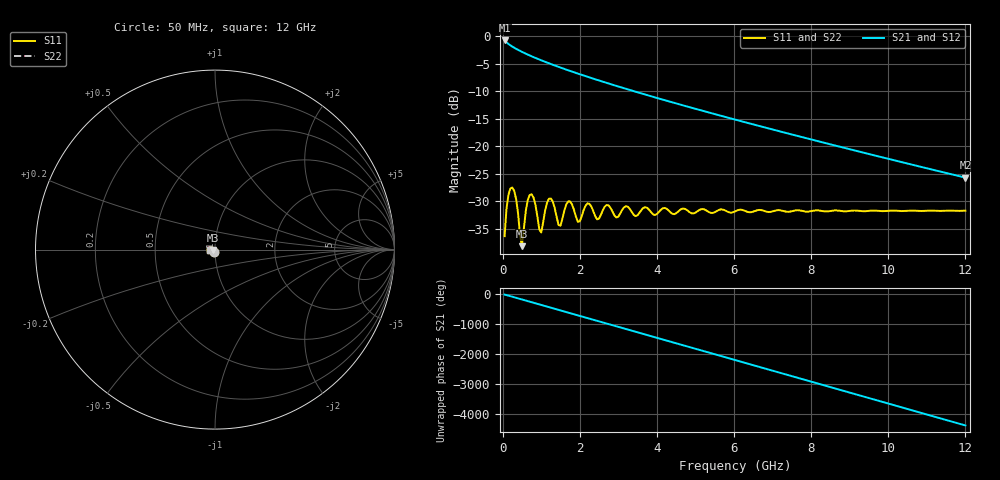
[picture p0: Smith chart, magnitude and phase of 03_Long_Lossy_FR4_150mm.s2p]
! Touchstone 1.1 File - Long 150mm Lossy FR4 Channel (High Attenuation)
! Ports: 2 | Reference Impedance: 50 Ohms
# GHz S RI R 50
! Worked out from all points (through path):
!   240 points, 50 MHz to 12 GHz, reference 50 ohm
!   highest |S21| = -0.76 dB at 50 MHz (marker M1); lowest = -25.7 dB at 12 GHz (marker M2)
!   group delay of S21, straight-line fit = 1.01 ns
!   lowest |S11| = -38.1 dB at 500 MHz (marker M3), VSWR 1.03, Z = 48.8 - j0.149 ohm
!   |S11| at or under -10 dB: start of sweep to end of sweep
!   |S22| runs from -38.1 to -27.5 dB; largest |S21 - S12| = 0
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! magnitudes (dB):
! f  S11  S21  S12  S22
! 50 MHz  -36.3  -0.8  -0.8  -36.3
! 150 MHz  -28.8  -1.4  -1.4  -28.8
! 250 MHz  -27.5  -1.9  -1.9  -27.5
! 350 MHz  -29.6  -2.3  -2.3  -29.6
! 500 MHz  -38.1  -2.8  -2.8  -38.1
! 700 MHz  -28.8  -3.5  -3.5  -28.8
! 800 MHz  -29.3  -3.8  -3.8  -29.3
! 1 GHz  -35.7  -4.4  -4.4  -35.7
! 1.2 GHz  -29.5  -4.9  -4.9  -29.5
! 1.45 GHz  -34.3  -5.6  -5.6  -34.3
! 1.7 GHz  -30.0  -6.2  -6.2  -30.0
! 2.05 GHz  -32.7  -7.0  -7.0  -32.7
! 2.2 GHz  -30.4  -7.4  -7.4  -30.4
! 2.45 GHz  -33.3  -7.9  -7.9  -33.3
! 2.7 GHz  -30.7  -8.5  -8.5  -30.7
! 2.95 GHz  -32.9  -9.0  -9.0  -32.9
! 3.2 GHz  -30.9  -9.6  -9.6  -30.9
! 4.05 GHz  -31.9  -11.3  -11.3  -31.9
! 6.05 GHz  -31.7  -15.2  -15.2  -31.7
! 8.05 GHz  -31.7  -18.8  -18.8  -31.7
! 10.05 GHz  -31.7  -22.4  -22.4  -31.7
! 12 GHz  -31.7  -25.7  -25.7  -31.7
